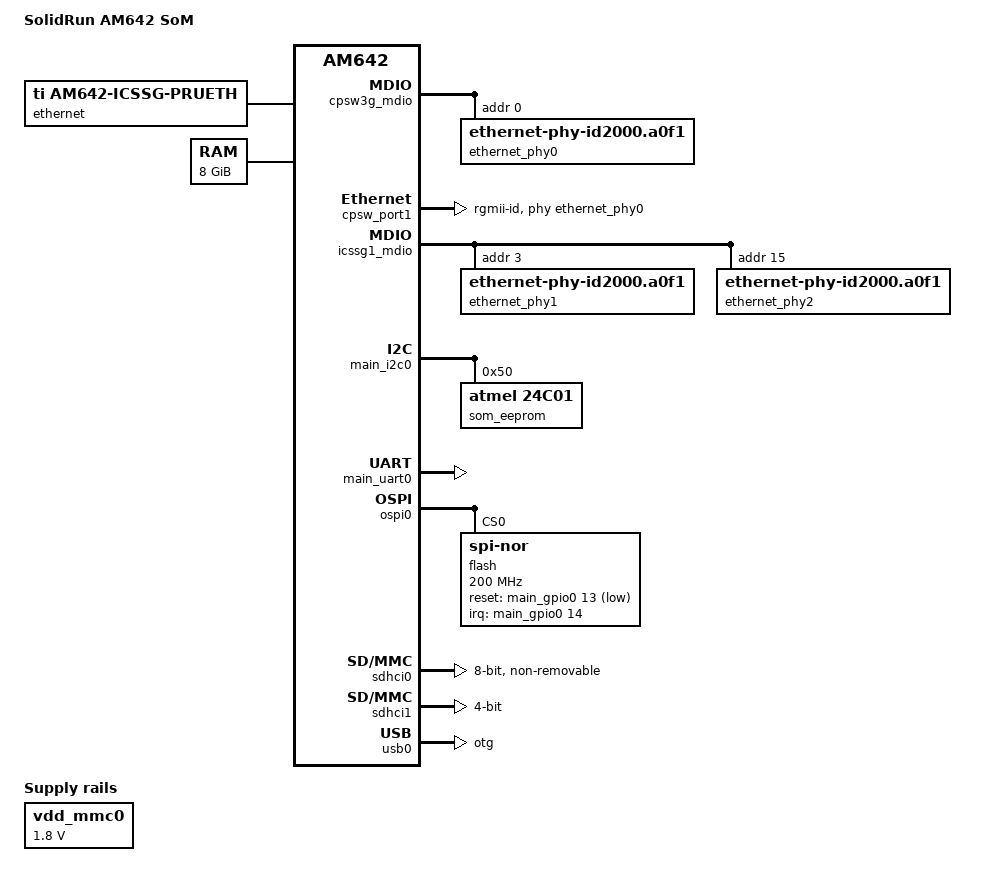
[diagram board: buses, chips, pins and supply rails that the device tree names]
// SPDX-License-Identifier: GPL-2.0+
/*
 * Copyright (C) 2023 Josua Mayer <josua@solid-run.com>
 *
 */

#include <dt-bindings/net/ti-dp83869.h>

/ {
	model = "SolidRun AM642 SoM";
	compatible = "solidrun,am642-sr-som", "ti,am642";

	aliases {
		ethernet0 = &cpsw_port1;
		ethernet1 = &icssg1_emac0;
		ethernet2 = &icssg1_emac1;
		mmc0 = &sdhci0;
		mmc1 = &sdhci1;
		serial2 = &main_uart0;
	};

	chosen {
		/* SoC default UART console */
		stdout-path = "serial2:115200n8";
	};

	/* PRU Ethernet Controller */
	ethernet {
		compatible = "ti,am642-icssg-prueth";
		pinctrl-names = "default";
		pinctrl-0 = <&pru_rgmii1_default_pins>, <&pru_rgmii2_default_pins>;

		sram = <&oc_sram>;
		ti,prus = <&pru1_0>, <&rtu1_0>, <&tx_pru1_0>, <&pru1_1>, <&rtu1_1>, <&tx_pru1_1>;
		firmware-name = "ti-pruss/am65x-sr2-pru0-prueth-fw.elf",
				"ti-pruss/am65x-sr2-rtu0-prueth-fw.elf",
				"ti-pruss/am65x-sr2-txpru0-prueth-fw.elf",
				"ti-pruss/am65x-sr2-pru1-prueth-fw.elf",
				"ti-pruss/am65x-sr2-rtu1-prueth-fw.elf",
				"ti-pruss/am65x-sr2-txpru1-prueth-fw.elf";

		/* configure internal pinmux for mii mode */
		ti,pruss-gp-mux-sel = <2>, <2>, <2>, <2>, <2>, <2>;

		ti,mii-g-rt = <&icssg1_mii_g_rt>;
		ti,mii-rt = <&icssg1_mii_rt>;
		ti,iep = <&icssg1_iep0>, <&icssg1_iep1>;

		/*
		 * Configure icssg interrupt controller to map pru-internal
		 * interrupts 8/9 via channels 0/1 to host interrupts 0/1.
		 *
		 * For details see interrupt controller documentation:
		 * Documentation/devicetree/bindings/interrupt-controller/ti,pruss-intc.yaml
		 */
		interrupt-parent = <&icssg1_intc>;
		interrupts = <24 0 2>, <25 1 3>;
		interrupt-names = "tx_ts0", "tx_ts1";

		dmas = <&main_pktdma 0xc200 15>, /* egress slice 0 */
		       <&main_pktdma 0xc201 15>, /* egress slice 0 */
		       <&main_pktdma 0xc202 15>, /* egress slice 0 */
		       <&main_pktdma 0xc203 15>, /* egress slice 0 */
		       <&main_pktdma 0xc204 15>, /* egress slice 1 */
		       <&main_pktdma 0xc205 15>, /* egress slice 1 */
		       <&main_pktdma 0xc206 15>, /* egress slice 1 */
		       <&main_pktdma 0xc207 15>, /* egress slice 1 */
		       <&main_pktdma 0x4200 15>, /* ingress slice 0 */
		       <&main_pktdma 0x4201 15>; /* ingress slice 1 */
		dma-names = "tx0-0", "tx0-1", "tx0-2", "tx0-3",
			    "tx1-0", "tx1-1", "tx1-2", "tx1-3",
			    "rx0", "rx1";

		ethernet-ports {
			#address-cells = <1>;
			#size-cells = <0>;

			icssg1_emac0: port@0 {
				reg = <0>;
				ti,syscon-rgmii-delay = <&main_conf 0x4110>;
				/* Filled in by bootloader */
				local-mac-address = [00 00 00 00 00 00];
				phy-handle = <&ethernet_phy2>;
				phy-mode = "rgmii-id";
			};

			icssg1_emac1: port@1 {
				reg = <1>;
				ti,syscon-rgmii-delay = <&main_conf 0x4114>;
				/* Filled in by bootloader */
				local-mac-address = [00 00 00 00 00 00];
				phy-handle = <&ethernet_phy1>;
				phy-mode = "rgmii-id";
			};
		};
	};

	/* DDR16SS0:
	 * - Bank 1 @ 0x080000000-0x0FFFFFFFF: max. 2GB in 32-bit address space
	 * - Bank 2 @ 0x880000000-0x9FFFFFFFF: max. 6GB in 64-bit address space
	 */
	memory@80000000 {
		reg = <0x00000000 0x80000000 0x00000000 0x80000000>,
		      <0x00000008 0x80000000 0x00000001 0x80000000>;
		device_type = "memory";
	};

	reserved-memory {
		#address-cells = <2>;
		#size-cells = <2>;
		ranges;

		secure_ddr: optee@9e800000 {
			reg = <0x00 0x9e800000 0x00 0x01800000>; /* for OP-TEE */
			no-map;
		};

		main_r5fss0_core0_dma_memory_region: r5f-dma-memory@a0000000 {
			compatible = "shared-dma-pool";
			reg = <0x00 0xa0000000 0x00 0x100000>;
			no-map;
		};

		main_r5fss0_core0_memory_region: r5f-memory@a0100000 {
			compatible = "shared-dma-pool";
			reg = <0x00 0xa0100000 0x00 0xf00000>;
			no-map;
		};

		main_r5fss0_core1_dma_memory_region: r5f-dma-memory@a1000000 {
			compatible = "shared-dma-pool";
			reg = <0x00 0xa1000000 0x00 0x100000>;
			no-map;
		};

		main_r5fss0_core1_memory_region: r5f-memory@a1100000 {
			compatible = "shared-dma-pool";
			reg = <0x00 0xa1100000 0x00 0xf00000>;
			no-map;
		};

		main_r5fss1_core0_dma_memory_region: r5f-dma-memory@a2000000 {
			compatible = "shared-dma-pool";
			reg = <0x00 0xa2000000 0x00 0x100000>;
			no-map;
		};

		main_r5fss1_core0_memory_region: r5f-memory@a2100000 {
			compatible = "shared-dma-pool";
			reg = <0x00 0xa2100000 0x00 0xf00000>;
			no-map;
		};

		main_r5fss1_core1_dma_memory_region: r5f-dma-memory@a3000000 {
			compatible = "shared-dma-pool";
			reg = <0x00 0xa3000000 0x00 0x100000>;
			no-map;
		};

		main_r5fss1_core1_memory_region: r5f-memory@a3100000 {
			compatible = "shared-dma-pool";
			reg = <0x00 0xa3100000 0x00 0xf00000>;
			no-map;
		};
	};

	vdd_mmc0: regulator-vdd-mmc0 {
		compatible = "regulator-fixed";
		regulator-name = "vdd-mmc0";
		regulator-min-microvolt = <1800000>;
		regulator-max-microvolt = <1800000>;
		regulator-always-on;
		regulator-boot-on;
	};
};

&cpsw3g {
	pinctrl-names = "default";
	pinctrl-0 = <&rgmii1_default_pins>;
};

&cpsw3g_mdio {
	pinctrl-names = "default";
	pinctrl-0 = <&mdio0_default_pins>;
	status = "okay";

	ethernet_phy0: ethernet-phy@0 {
		compatible = "ethernet-phy-id2000.a0f1";
		reg = <0>;
		pinctrl-names = "default";
		pinctrl-0 = <&ethernet_phy0_default_pins>;
		ti,clk-output-sel = <DP83869_CLK_O_SEL_REF_CLK>;
		ti,op-mode = <DP83869_RGMII_COPPER_ETHERNET>;
		/*
		 * Disable interrupts because ISR never clears 0x0040
		 *
		 * interrupt-parent = <&main_gpio1>;
		 * interrupts = <70 IRQ_TYPE_LEVEL_LOW>;
		 */
		/*
		 * Disable HW Reset because clock signal is daisy-chained
		 *
		 * reset-gpios = <&main_gpio0 84 GPIO_ACTIVE_LOW>;
		 * reset-assert-us = <1>;
		 * reset-deassert-us = <30>;
		 */
	};
};

&cpsw_port1 {
	phy-mode = "rgmii-id";
	phy-handle = <&ethernet_phy0>;
};

&cpsw_port2 {
	status = "disabled";
};

&icssg1_mdio {
	pinctrl-names = "default";
	pinctrl-0 = <&pru1_mdio0_default_pins>;
	status = "okay";

	ethernet_phy1: ethernet-phy@3 {
		compatible = "ethernet-phy-id2000.a0f1";
		reg = <3>;
		pinctrl-names = "default";
		pinctrl-0 = <&ethernet_phy1_default_pins>;
		ti,clk-output-sel = <DP83869_CLK_O_SEL_REF_CLK>;
		ti,op-mode = <DP83869_RGMII_COPPER_ETHERNET>;
		/*
		 * Disable interrupts because ISR never clears 0x0040
		 *
		 * interrupt-parent = <&main_gpio1>;
		 * interrupts = <70 IRQ_TYPE_LEVEL_LOW>;
		 */
		/*
		 * Disable HW Reset because clock signal is daisy-chained
		 *
		 * reset-gpios = <&main_gpio0 20 GPIO_ACTIVE_LOW>;
		 * reset-assert-us = <1>;
		 * reset-deassert-us = <30>;
		 */
	};

	ethernet_phy2: ethernet-phy@f {
		compatible = "ethernet-phy-id2000.a0f1";
		reg = <0xf>;
		pinctrl-names = "default";
		pinctrl-0 = <&ethernet_phy2_default_pins>;
		ti,op-mode = <DP83869_RGMII_COPPER_ETHERNET>;
		/*
		 * Disable interrupts because ISR never clears 0x0040
		 *
		 * interrupt-parent = <&main_gpio1>;
		 * interrupts = <70 IRQ_TYPE_LEVEL_LOW>;
		 */
		/*
		 * Disable HW Reset because clock signal is daisy-chained
		 *
		 * reset-gpios = <&main_gpio0 52 GPIO_ACTIVE_LOW>;
		 * reset-assert-us = <1>;
		 * reset-deassert-us = <30>;
		 */
	};
};

&mailbox0_cluster2 {
	status = "okay";

	mbox_main_r5fss0_core0: mbox-main-r5fss0-core0 {
		ti,mbox-rx = <0 0 2>;
		ti,mbox-tx = <1 0 2>;
	};

	mbox_main_r5fss0_core1: mbox-main-r5fss0-core1 {
		ti,mbox-rx = <2 0 2>;
		ti,mbox-tx = <3 0 2>;
	};
};

&mailbox0_cluster4 {
	status = "okay";

	mbox_main_r5fss1_core0: mbox-main-r5fss1-core0 {
		ti,mbox-rx = <0 0 2>;
		ti,mbox-tx = <1 0 2>;
	};

	mbox_main_r5fss1_core1: mbox-main-r5fss1-core1 {
		ti,mbox-rx = <2 0 2>;
		ti,mbox-tx = <3 0 2>;
	};
};

&main_i2c0 {
	pinctrl-names = "default";
	pinctrl-0 = <&main_i2c0_default_pins>;
	status = "okay";

	som_eeprom: eeprom@50 {
		compatible = "atmel,24c01";
		reg = <0x50>;
		pagesize = <8>;
	};
};

&main_pmx0 {
	/* hog global functions */
	pinctrl-names = "default";
	pinctrl-0 = <&ethernet_phy_default_pins>;

	ethernet_phy_default_pins: ethernet-phy-default-pins {
		pinctrl-single,pins = <
			/* interrupt / power-down, external pull-up on SoM */
			AM64X_IOPAD(0x0278, PIN_INPUT, 7) /* EXTINTn.GPIO1_70 */
		>;
	};

	ethernet_phy0_default_pins: ethernet-phy0-default-pins {
		pinctrl-single,pins = <
			/* reset */
			AM64X_IOPAD(0x0154, PIN_OUTPUT, 7) /* PRG1_PRU1_GPO19.GPIO0_84 */
			/* reference clock */
			AM64X_IOPAD(0x0274, PIN_OUTPUT, 5) /* EXT_REFCLK1.CLKOUT0 */
		>;
	};

	ethernet_phy1_default_pins: ethernet-phy1-default-pins {
		pinctrl-single,pins = <
			/* reset */
			AM64X_IOPAD(0x0150, PIN_OUTPUT, 7) /* PRG1_PRU1_GPO18.GPIO0_20 */
			/* led0, external pull-down on SoM */
			AM64X_IOPAD(0x0128, PIN_INPUT, 7) /* PRG1_PRU1_GPO8.GPIO0_73 */
			/* led1/rxer */
			AM64X_IOPAD(0x011c, PIN_INPUT, 7) /* PRG1_PRU1_GPO5.GPIO0_70 */
		>;
	};

	ethernet_phy2_default_pins: ethernet-phy2-default-pins {
		pinctrl-single,pins = <
			/* reset */
			AM64X_IOPAD(0x00d4, PIN_OUTPUT, 7) /* PRG1_PRU0_GPO7.GPIO0_52 */
			/* led0, external pull-down on SoM */
			AM64X_IOPAD(0x00d8, PIN_INPUT, 7) /* PRG1_PRU0_GPO8.GPIO0_53 */
			/* led1/rxer */
			AM64X_IOPAD(0x00cc, PIN_INPUT, 7) /* PRG1_PRU0_GPO5.GPIO0_50 */
		>;
	};

	main_i2c0_default_pins: main-i2c0-default-pins {
		pinctrl-single,pins = <
			/* external pull-up on SoM */
			AM64X_IOPAD(0x0260, PIN_INPUT, 0) /* I2C0_SCL.I2C0_SCL */
			AM64X_IOPAD(0x0264, PIN_INPUT, 0) /* I2C0_SDA.I2C0_SDA */
		>;
	};

	/*
	 * main_mmc0_default_pins: main-mmc0-default-pins
	 *
	 * MMC0_CMD: no padconfig
	 * MMC0_CLK: no padconfig, external pull-up on SoM
	 * MMC0_DAT0: no padconfig
	 * MMC0_DAT1: no padconfig
	 * MMC0_DAT2: no padconfig
	 * MMC0_DAT3: no padconfig
	 * MMC0_DAT4: no padconfig
	 * MMC0_DAT5: no padconfig
	 * MMC0_DAT6: no padconfig
	 * MMC0_DAT7: no padconfig
	 * MMC0_DS: no padconfig, external pull-down on SoM
	 */

	main_mmc1_default_pins: main-mmc1-default-pins {
		pinctrl-single,pins = <
			AM64X_IOPAD(0x0294, PIN_INPUT_PULLUP, 0) /* (J19) MMC1_CMD */
			AM64X_IOPAD(0x028c, PIN_INPUT, 0) /* MMC1_CLK.MMC1_CLK */
			AM64X_IOPAD(0x0288, PIN_INPUT_PULLUP, 0) /* MMC1_DAT0.MMC1_DAT0 */
			AM64X_IOPAD(0x0284, PIN_INPUT_PULLUP, 0) /* MMC1_DAT1.MMC1_DAT1 */
			AM64X_IOPAD(0x0280, PIN_INPUT_PULLUP, 0) /* MMC1_DAT2.MMC1_DAT2 */
			AM64X_IOPAD(0x027c, PIN_INPUT_PULLUP, 0) /* MMC1_DAT3.MMC1_DAT3 */
			/* external pull-down on SoM & Carrier */
			AM64X_IOPAD(0x0298, PIN_INPUT_PULLUP, 0) /* MMC1_SDCD.MMC1_SDCD */
			AM64X_IOPAD(0x0290, PIN_INPUT, 0) /* MMC1_CLKLB: clock loopback */
		>;
	};

	main_uart0_default_pins: main-uart0-default-pins {
		pinctrl-single,pins = <
			AM64X_IOPAD(0x0230, PIN_INPUT, 0) /* UART0_RXD.UART0_RXD */
			AM64X_IOPAD(0x0234, PIN_OUTPUT, 0) /* UART0_TXD.UART0_TXD */
		>;
	};

	mdio0_default_pins: mdio0-default-pins {
		pinctrl-single,pins = <
			AM64X_IOPAD(0x01fc, PIN_OUTPUT, 4) /* PRG0_PRU1_GPO19.MDIO0_MDC */
			AM64X_IOPAD(0x01f8, PIN_INPUT, 4) /* PRG0_PRU1_GPO18.MDIO0_MDIO */
		>;
	};

	ospi0_default_pins: ospi0-default-pins {
		pinctrl-single,pins = <
			/* external pull-down on SoM */
			AM64X_IOPAD(0x0000, PIN_OUTPUT, 0) /* OSPI0_CLK.OSPI0_CLK */
			AM64X_IOPAD(0x0008, PIN_OUTPUT, 0) /* OSPI0_DQS.OSPI0_DQS */
			/* external pull-up on SoM */
			AM64X_IOPAD(0x002c, PIN_OUTPUT, 0) /* OSPI0_CSn0.OSPI0_CSn0 */
			AM64X_IOPAD(0x000c, PIN_INPUT, 0) /* OSPI0_D0.OSPI0_D0 */
			AM64X_IOPAD(0x0010, PIN_INPUT, 0) /* OSPI0_D1.OSPI0_D1 */
			AM64X_IOPAD(0x0014, PIN_INPUT, 0) /* OSPI0_D2.OSPI0_D2 */
			AM64X_IOPAD(0x0018, PIN_INPUT, 0) /* OSPI0_D3.OSPI0_D3 */
			AM64X_IOPAD(0x001c, PIN_INPUT, 0) /* OSPI0_D4.OSPI0_D4 */
			AM64X_IOPAD(0x0020, PIN_INPUT, 0) /* OSPI0_D5.OSPI0_D5 */
			AM64X_IOPAD(0x0024, PIN_INPUT, 0) /* OSPI0_D6.OSPI0_D6 */
			AM64X_IOPAD(0x0028, PIN_INPUT, 0) /* OSPI0_D7.OSPI0_D7 */
		>;
	};

	ospi0_flash0_default_pins: ospi0-flash0-default-pins {
		pinctrl-single,pins = <
			AM64X_IOPAD(0x0034, PIN_OUTPUT, 7) /* OSPI0_CSn2.GPIO0_13 */
			AM64X_IOPAD(0x0038, PIN_INPUT, 7) /* OSPI0_CSn3.GPIO0_14 */
		>;
	};

	pru1_mdio0_default_pins: pru1-mdio0-default-pins {
		pinctrl-single,pins = <
			AM64X_IOPAD(0x015c, PIN_OUTPUT, 0) /* PRG1_MDIO0_MDC.PRG1_MDIO0_MDC */
			AM64X_IOPAD(0x0158, PIN_INPUT, 0) /* PRG1_MDIO0_MDIO.PRG1_MDIO0_MDIO */
		>;
	};

	pru_rgmii1_default_pins: pru-rgmii1-default-pins {
		pinctrl-single,pins = <
			AM64X_IOPAD(0x00b8, PIN_INPUT, 2) /* (Y7) PRG1_PRU0_GPO0.PRG1_RGMII1_RD0 */
			AM64X_IOPAD(0x00bc, PIN_INPUT, 2) /* (U8) PRG1_PRU0_GPO1.PRG1_RGMII1_RD1 */
			AM64X_IOPAD(0x00c0, PIN_INPUT, 2) /* (W8) PRG1_PRU0_GPO2.PRG1_RGMII1_RD2 */
			AM64X_IOPAD(0x00c4, PIN_INPUT, 2) /* (V8) PRG1_PRU0_GPO3.PRG1_RGMII1_RD3 */
			AM64X_IOPAD(0x00d0, PIN_INPUT, 2) /* (AA7) PRG1_PRU0_GPO6.PRG1_RGMII1_RXC */
			AM64X_IOPAD(0x00c8, PIN_INPUT, 2) /* (Y8) PRG1_PRU0_GPO4.PRG1_RGMII1_RX_CTL */
			AM64X_IOPAD(0x00e4, PIN_OUTPUT, 2) /* (AA8) PRG1_PRU0_GPO11.PRG1_RGMII1_TD0 */
			AM64X_IOPAD(0x00e8, PIN_OUTPUT, 2) /* (U9) PRG1_PRU0_GPO12.PRG1_RGMII1_TD1 */
			AM64X_IOPAD(0x00ec, PIN_OUTPUT, 2) /* (W9) PRG1_PRU0_GPO13.PRG1_RGMII1_TD2 */
			AM64X_IOPAD(0x00f0, PIN_OUTPUT, 2) /* (AA9) PRG1_PRU0_GPO14.PRG1_RGMII1_TD3 */
			AM64X_IOPAD(0x00f8, PIN_INPUT, 2) /* (V9) PRG1_PRU0_GPO16.PRG1_RGMII1_TXC */
			AM64X_IOPAD(0x00f4, PIN_OUTPUT, 2) /* (Y9) PRG1_PRU0_GPO15.PRG1_RGMII1_TX_CTL */
		>;
	};

	pru_rgmii2_default_pins: pru-rgmii2-default-pins {
		pinctrl-single,pins = <
			AM64X_IOPAD(0x0108, PIN_INPUT, 2) /* PRG1_PRU1_GPO0.RGMII2_RD0 */
			AM64X_IOPAD(0x010c, PIN_INPUT, 2) /* PRG1_PRU1_GPO1.RGMII2_RD1 */
			AM64X_IOPAD(0x0110, PIN_INPUT, 2) /* PRG1_PRU1_GPO2.RGMII2_RD2 */
			AM64X_IOPAD(0x0114, PIN_INPUT, 2) /* PRG1_PRU1_GPO3.RGMII2_RD3 */
			AM64X_IOPAD(0x0120, PIN_INPUT, 2) /* PRG1_PRU1_GPO6.RGMII2_RXC */
			AM64X_IOPAD(0x0118, PIN_INPUT, 2) /* PRG1_PRU1_GPO4.RGMII2_RX_CTL */
			AM64X_IOPAD(0x0134, PIN_OUTPUT, 2) /* PRG1_PRU1_GPO11.RGMII2_TD0 */
			AM64X_IOPAD(0x0138, PIN_OUTPUT, 2) /* PRG1_PRU1_GPO12.RGMII2_TD1 */
			AM64X_IOPAD(0x013c, PIN_OUTPUT, 2) /* PRG1_PRU1_GPO13.RGMII2_TD2 */
			AM64X_IOPAD(0x0140, PIN_OUTPUT, 2) /* PRG1_PRU1_GPO14.RGMII2_TD3 */
			AM64X_IOPAD(0x0148, PIN_INPUT, 2) /* PRG1_PRU1_GPO16.RGMII2_TXC */
			AM64X_IOPAD(0x0144, PIN_OUTPUT, 2) /* PRG1_PRU1_GPO15.RGMII2_TX_CTL */
		>;
	};

	rgmii1_default_pins: rgmii1-default-pins {
		pinctrl-single,pins = <
			AM64X_IOPAD(0x01cc, PIN_INPUT, 4) /* PRG0_PRU1_GPO7.RGMII1_RD0 */
			AM64X_IOPAD(0x01d4, PIN_INPUT, 4) /* PRG0_PRU1_GPO9.RGMII1_RD1 */
			AM64X_IOPAD(0x01d8, PIN_INPUT, 4) /* PRG0_PRU1_GPO10.RGMII1_RD2 */
			AM64X_IOPAD(0x01f4, PIN_INPUT, 4) /* PRG0_PRU1_GPO17.RGMII1_RD3 */
			AM64X_IOPAD(0x0188, PIN_INPUT, 4) /* PRG0_PRU0_GPO10.RGMII1_RXC */
			AM64X_IOPAD(0x0184, PIN_INPUT, 4) /* PRG0_PRU0_GPO9.RGMII1_RX_CTL */
			AM64X_IOPAD(0x0124, PIN_OUTPUT, 4) /* PRG1_PRU1_GPO7.RGMII1_TD0 */
			AM64X_IOPAD(0x012c, PIN_OUTPUT, 4) /* PRG1_PRU1_GPO9.RGMII1_TD1 */
			AM64X_IOPAD(0x0130, PIN_OUTPUT, 4) /* PRG1_PRU1_GPO10.RGMII1_TD2 */
			AM64X_IOPAD(0x014c, PIN_OUTPUT, 4) /* PRG1_PRU1_GPO17.RGMII1_TD3 */
			AM64X_IOPAD(0x00e0, PIN_INPUT, 4) /* PRG1_PRU0_GPO10.RGMII1_TXC */
			AM64X_IOPAD(0x00dc, PIN_OUTPUT, 4) /* PRG1_PRU0_GPO9.RGMII1_TX_CTL */
		>;
	};

	usb0_default_pins: usb0-default-pins {
		pinctrl-single,pins = <
			AM64X_IOPAD(0x02a8, PIN_OUTPUT, 0) /* USB0_DRVVBUS.USB0_DRVVBUS */
		>;
	};
};

&main_r5fss0_core0 {
	mboxes = <&mailbox0_cluster2 &mbox_main_r5fss0_core0>;
	memory-region = <&main_r5fss0_core0_dma_memory_region>,
			<&main_r5fss0_core0_memory_region>;
};

&main_r5fss0_core1 {
	mboxes = <&mailbox0_cluster2 &mbox_main_r5fss0_core1>;
	memory-region = <&main_r5fss0_core1_dma_memory_region>,
			<&main_r5fss0_core1_memory_region>;
};

&main_r5fss1_core0 {
	mboxes = <&mailbox0_cluster4 &mbox_main_r5fss1_core0>;
	memory-region = <&main_r5fss1_core0_dma_memory_region>,
			<&main_r5fss1_core0_memory_region>;
};

&main_r5fss1_core1 {
	mboxes = <&mailbox0_cluster4 &mbox_main_r5fss1_core1>;
	memory-region = <&main_r5fss1_core1_dma_memory_region>,
			<&main_r5fss1_core1_memory_region>;
};

/* SoC default UART console */
&main_uart0 {
	pinctrl-names = "default";
	pinctrl-0 = <&main_uart0_default_pins>;
	status = "okay";
};

&ospi0 {
	pinctrl-names = "default";
	pinctrl-0 = <&ospi0_default_pins>;
	num-cs = <1>;
	status = "okay";

	flash@0 {
		compatible = "jedec,spi-nor";
		reg = <0>;
		pinctrl-names = "default";
		pinctrl-0 = <&ospi0_flash0_default_pins>;
		spi-tx-bus-width = <8>;
		spi-rx-bus-width = <8>;
		spi-max-frequency = <200000000>;
		cdns,tshsl-ns = <50>;
		cdns,tsd2d-ns = <50>;
		cdns,tchsh-ns = <4>;
		cdns,tslch-ns = <4>;
		cdns,read-delay = <0>;
		interrupt-parent = <&main_gpio0>;
		interrupts = <14 IRQ_TYPE_LEVEL_LOW>;
		reset-gpios = <&main_gpio0 13 GPIO_ACTIVE_LOW>;
	};
};

&sdhci0 {
	/* mmc0 pins have no padconfig */
	bus-width = <8>;
	ti,driver-strength-ohm = <50>;
	disable-wp;
	non-removable;
	cap-mmc-hw-reset;
	no-sd;
	/*
	 * MMC controller supports switching between 1.8V and 3.3V signalling.
	 * However MMC0 (unlike MMC1) does not integrate an LDO.
	 * Explicitly link a regulator node for indicating to the driver which
	 * voltages are actually usable.
	 */
	vqmmc-supply = <&vdd_mmc0>;
	status = "okay";
};

/*
 * microSD is on carrier - however since SoC can boot from it,
 * configure it just in case.
 */
&sdhci1 {
	pinctrl-names = "default";
	pinctrl-0 = <&main_mmc1_default_pins>;
	bus-width = <4>;
	ti,driver-strength-ohm = <50>;
	disable-wp;
	status = "okay";
};

/*
 * USB settings are a carrier choice - however since SoC can boot from it,
 * configure as USB-2.0 OTG here, keeping USB-3 serdes disabled.
 */
&usb0 {
	pinctrl-names = "default";
	pinctrl-0 = <&usb0_default_pins>;
	dr_mode = "otg";
	maximum-speed = "high-speed";
};

&usbss0 {
	ti,vbus-divider;
	ti,usb2-only;
};
